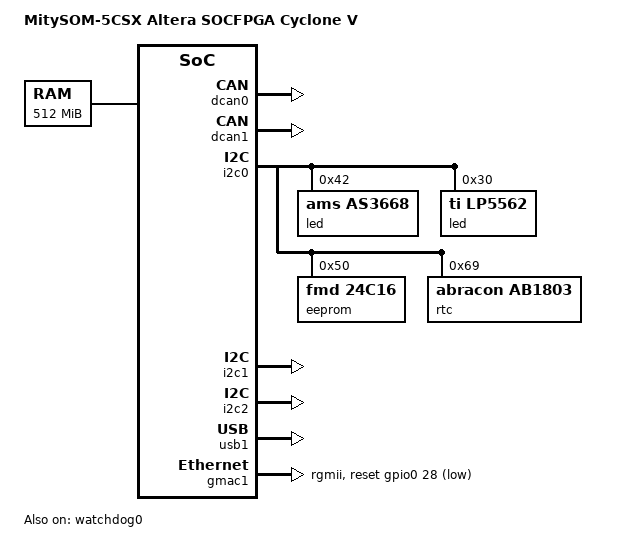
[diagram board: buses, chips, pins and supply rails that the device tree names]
/*
 *  Copyright (C) 2012 Altera Corporation <www.altera.com>
 *
 * This program is free software; you can redistribute it and/or modify
 * it under the terms of the GNU General Public License as published by
 * the Free Software Foundation; either version 2 of the License, or
 * (at your option) any later version.
 *
 * This program is distributed in the hope that it will be useful,
 * but WITHOUT ANY WARRANTY; without even the implied warranty of
 * MERCHANTABILITY or FITNESS FOR A PARTICULAR PURPOSE.  See the
 * GNU General Public License for more details.
 *
 * You should have received a copy of the GNU General Public License
 * along with this program.  If not, see <http://www.gnu.org/licenses/>.
 */

/dts-v1/;
#include "socfpga.dtsi"

/ {
	model = "MitySOM-5CSX Altera SOCFPGA Cyclone V";
	compatible = "altr,socfpga-cyclone5", "altr,socfpga";

	chosen {
		bootargs = "console=ttyS0,115200 root=/dev/mmcblk0p2 rw rootwait";
	};

	memory {
		name = "memory";
		device_type = "memory";
		reg = <0x0 0x20000000>; /* 512 MB  */
	};

	cpus {
		cpu@1 {
			status = "disabled";
		};
	};

	soc {
		clkmgr@ffd04000 {
			clocks {
				osc1 {
					clock-frequency = <25000000>;
				};
			};
		};

		/* On DevKit Board */
		dcan0: d_can@ffc00000 {
			status = "okay";
		};

		/* On DevKit Board */
		dcan1: d_can@ffc01000 {
			status = "okay";
		};

		gpio@ff708000 {
			status = "okay";
		};

		gpio@ff709000 {
			status = "okay";
		};

		gpio@ff70a000 {
			status = "okay";
		};

		dwmmc0@ff704000 {
			num-slots = <1>;
			supports-highspeed;
			broken-cd;
			altr,dw-mshc-ciu-div = <3>;
			altr,dw-mshc-sdr-timing = <0 3>;

			slot@0 {
				reg = <0>;
				bus-width = <4>;
			};
		};

		i2c0: i2c@ffc04000 {
			speed-mode = <0>;
			status = "okay";
		};

		/* on DevKit Baseboard */
		i2c1: i2c@ffc05000 {
			speed-mode = <0>;
			status = "okay";
		};

		i2c2: i2c@ffc06000 {
			speed-mode = <0>;
			status = "okay";
		};


		timer0@ffc08000 {
			clock-frequency = <100000000>;
		};

		timer1@ffc09000 {
			clock-frequency = <100000000>;
		};

		timer2@ffd00000 {
			clock-frequency = <25000000>;
		};

		timer3@ffd01000 {
			clock-frequency = <25000000>;
		};

		serial0@ffc02000 {
			clock-frequency = <100000000>;
		};

		serial1@ffc03000 {
			clock-frequency = <100000000>;
		};

		sysmgr@ffd08000 {
			cpu1-start-addr = <0xffd080c4>;
		};
	};

};

&usb1 {
	compatible = "snps,dwc2-vbus-ext";
	status = "okay";
};

&watchdog0 {
	status = "okay";
};

&i2c0 {
	/* on SOM */
	led@42 {
		device_type = "led";
		compatible = "ams,as3668";
		reg = <0x42>;
	};
	led@30 {
		compatible = "ti,lp5562";
		reg = <0x30>;
		clock-mode = /bits/8 <2>;

		chan0 {
			chan-name = "R";
			led-cur = /bits/ 8 <0x20>;
			max-cur = /bits/ 8 <0x60>;
		};

		chan1 {
			chan-name = "G";
			led-cur = /bits/ 8 <0x20>;
			max-cur = /bits/ 8 <0x60>;
		};

		chan2 {
			chan-name = "B";
			led-cur = /bits/ 8 <0x20>;
			max-cur = /bits/ 8 <0x60>;
		};

		chan3 {
			chan-name = "G1";
			led-cur = /bits/ 8 <0x20>;
			max-cur = /bits/ 8 <0x60>;
		};
	};
	/* on SOM */
	eeprom@50 {
		compatible = "fmd,24c16";
		reg = <0x50>;
	};
	/* on SOM */
	rtc@69 {
		device_type = "rtc";
		compatible = "abracon,ab1803";
		reg = <0x69>;
	};
};

&gmac1 {
	status = "okay";
	phy-mode = "rgmii";
	snps,reset-gpio = <&gpio0 28 1>;
	snps,reset-active-low;
	snps,reset-delays-us = <0 1000000 1000000>;
	snps,max-mtu = <4062>;
};
